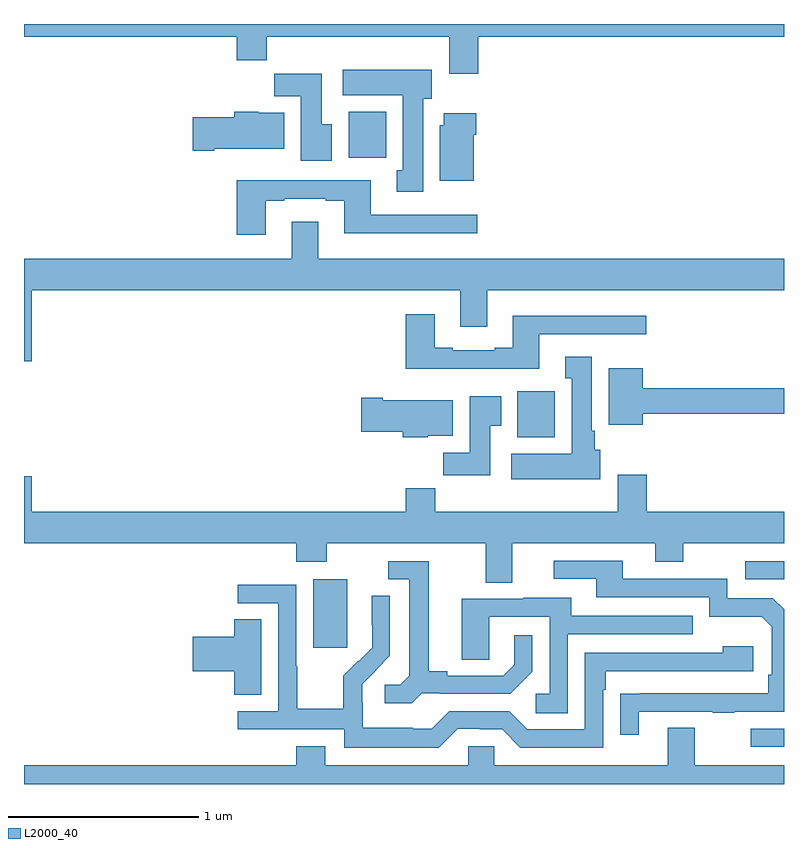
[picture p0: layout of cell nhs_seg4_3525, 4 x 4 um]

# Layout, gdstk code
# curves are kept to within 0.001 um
import gdstk
lib = gdstk.Library(unit=1e-6, precision=1e-09)
def R(c, l, rs):  # rectangles x0, y0, x1, y1
    for r in rs: c.add(gdstk.rectangle(r[:2], r[2:], *l))
def P(c, l, *ps):  # polygons
    for p in ps: c.add(gdstk.Polygon(p, *l))
L2000_40 = (2000, 40)

nhs_seg4_3525 = lib.new_cell('nhs_seg4_3525')
R(nhs_seg4_3525, L2000_40, [(300.825,781.095,301,781.191), (298.523,781.617,298.702,781.978), (300.795,781.977,301,782.073), (299.597,782.726,299.794,782.968), (298.709,784.196,298.906,784.438)])
P(nhs_seg4_3525, L2000_40, [(299.39,784.832),(301,784.832),(301,784.9),(297,784.9),(297,784.832),(298.121,784.832),(298.121,784.708),(298.277,784.708),(298.277,784.832),(299.237,784.832),(299.237,784.638),(299.39,784.638)],
  [(299.101,784.506),(299.146,784.506),(299.146,784.66),(298.677,784.66),(298.677,784.526),(298.994,784.526),(298.994,784.13),(298.961,784.13),(298.961,784.017),(299.101,784.017)],
  [(298.621,784.372),(298.567,784.372),(298.567,784.639),(298.318,784.639),(298.318,784.52),(298.457,784.52),(298.457,784.179),(298.621,784.179)],
  [(298,784.244),(298.369,784.244),(298.369,784.432),(298.236,784.432),(298.236,784.438),(298.106,784.438),(298.106,784.41),(297.888,784.41),(297.888,784.232),(298,784.232)],
  [(299.368,784.316),(299.381,784.316),(299.381,784.429),(299.21,784.429),(299.21,784.368),(299.189,784.368),(299.189,784.076),(299.368,784.076)],
  [(298.273,783.969),(298.369,783.969),(298.369,783.981),(298.589,783.981),(298.589,783.969),(298.685,783.969),(298.685,783.8),(299.386,783.8),(299.386,783.897),(298.825,783.897),(298.825,784.077),(298.361,784.077),(298.361,784.078),(298.121,784.078),(298.121,783.792),(298.273,783.792)],
  [(297.04,783.5),(299.297,783.5),(299.297,783.306),(299.437,783.306),(299.437,783.5),(301,783.5),(301,783.664),(298.549,783.664),(298.549,783.859),(298.409,783.859),(298.409,783.664),(297,783.664),(297,783.126),(297.04,783.126)],
  [(299.713,783.267),(300.274,783.267),(300.274,783.364),(299.573,783.364),(299.573,783.196),(299.477,783.196),(299.477,783.183),(299.257,783.183),(299.257,783.196),(299.161,783.196),(299.161,783.373),(299.009,783.373),(299.009,783.086),(299.713,783.086)],
  [(300.034,782.658),(300.004,782.658),(300.004,782.758),(299.989,782.758),(299.989,783.148),(299.849,783.148),(299.849,783.035),(299.882,783.035),(299.882,782.638),(299.565,782.638),(299.565,782.504),(300.034,782.504)],
  [(300.256,782.848),(301,782.848),(301,782.984),(300.256,782.984),(300.256,783.088),(300.077,783.088),(300.077,782.792),(300.256,782.792)],
  [(299.455,782.785),(299.512,782.785),(299.512,782.941),(299.345,782.941),(299.345,782.644),(299.206,782.644),(299.206,782.526),(299.455,782.526)],
  [(299.124,782.732),(299.257,782.732),(299.257,782.92),(298.888,782.92),(298.888,782.933),(298.776,782.933),(298.776,782.755),(298.994,782.755),(298.994,782.726),(299.124,782.726)],
  [(299.569,782.168),(300.323,782.168),(300.323,782.069),(300.471,782.069),(300.471,782.168),(301,782.168),(301,782.332),(300.278,782.332),(300.278,782.527),(300.125,782.527),(300.125,782.332),(299.165,782.332),(299.165,782.456),(299.009,782.456),(299.009,782.332),(297.04,782.332),(297.04,782.521),(297,782.521),(297,782.168),(298.433,782.168),(298.433,782.069),(298.593,782.069),(298.593,782.168),(299.429,782.168),(299.429,781.96),(299.569,781.96)],
  [(300.235,781.281),(300.625,781.281),(300.625,781.276),(300.737,781.276),(300.737,781.281),(301,781.281),(301,781.82),(300.942,781.878),(300.702,781.878),(300.702,781.98),(300.151,781.98),(300.151,782.076),(299.787,782.076),(299.787,781.98),(300.011,781.98),(300.011,781.884),(300.606,781.884),(300.606,781.781),(300.883,781.781),(300.936,781.728),(300.936,781.474),(300.916,781.474),(300.916,781.377),(300.139,781.376),(300.139,781.158),(300.235,781.158)],
  [(299.094,781.377),(299.188,781.377),(299.188,781.374),(299.56,781.374),(299.676,781.49),(299.676,781.684),(299.579,781.684),(299.579,781.527),(299.522,781.47),(299.227,781.47),(299.227,781.493),(299.131,781.493),(299.131,782.073),(298.917,782.073),(298.917,781.977),(299.027,781.977),(299.027,781.469),(298.98,781.422),(298.899,781.422),(298.899,781.325),(299.042,781.325)],
  [(299.283,781.191),(299.399,781.191),(299.399,781.188),(299.517,781.188),(299.613,781.092),(300.048,781.092),(300.048,781.397),(300.061,781.397),(300.061,781.494),(300.838,781.494),(300.838,781.624),(300.677,781.624),(300.677,781.59),(299.952,781.59),(299.952,781.188),(299.649,781.188),(299.553,781.284),(299.238,781.284),(299.145,781.191),(299.045,781.191),(299.045,781.195),(298.782,781.195),(298.782,781.329),(298.78,781.329),(298.78,781.426),(298.926,781.574),(298.926,781.892),(298.83,781.892),(298.83,781.738),(298.832,781.738),(298.832,781.616),(298.761,781.545),(298.758,781.548),(298.681,781.471),(298.681,781.297),(298.437,781.297),(298.437,781.52),(298.434,781.52),(298.434,781.95),(298.125,781.95),(298.125,781.851),(298.338,781.851),(298.338,781.284),(298.125,781.284),(298.125,781.188),(298.686,781.188),(298.686,781.091),(299.183,781.091)],
  [(299.862,781.689),(300.521,781.689),(300.521,781.785),(299.881,781.785),(299.881,781.879),(299.627,781.879),(299.627,781.875),(299.303,781.875),(299.303,781.555),(299.448,781.555),(299.448,781.779),(299.766,781.779),(299.766,781.374),(299.694,781.374),(299.694,781.273),(299.862,781.273)],
  [(298.249,781.766),(298.106,781.766),(298.106,781.676),(297.888,781.676),(297.888,781.493),(298.106,781.493),(298.106,781.369),(298.249,781.369)],
  [(301,781),(300.529,781),(300.529,781.195),(300.389,781.195),(300.389,781),(299.475,781),(299.475,781.098),(299.337,781.098),(299.337,781),(298.585,781),(298.585,781.099),(298.433,781.099),(298.433,781),(297,781),(297,780.9),(301,780.9)])

lib.write_gds('nhs_seg4_3525.gds')
